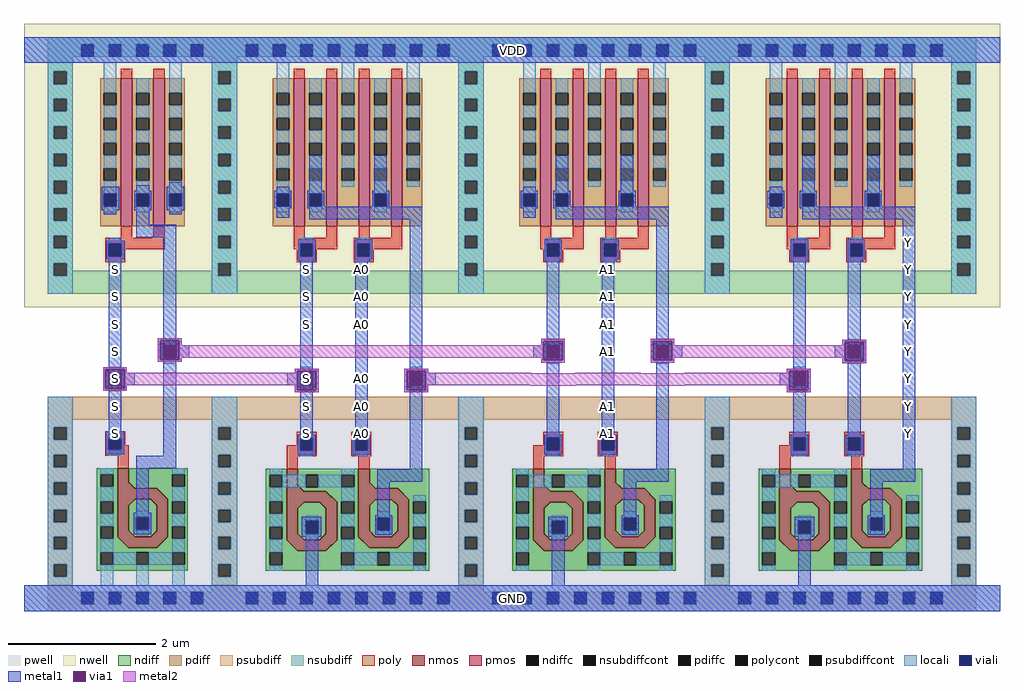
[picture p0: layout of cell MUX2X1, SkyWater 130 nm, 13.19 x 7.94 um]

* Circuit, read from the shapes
.subckt MUX2X1 Y A0 A1 S VDD GND
XM1 GND S n1 GND sky130_fd_pr__nfet_01v8 w=2.56 l=0.1472
XM2 n2 S GND GND sky130_fd_pr__nfet_01v8 w=2.6 l=0.1479
XM3 n2 A0 n3 GND sky130_fd_pr__nfet_01v8 w=2.56 l=0.1468
XM4 n4 n1 GND GND sky130_fd_pr__nfet_01v8 w=2.6 l=0.1483
XM5 n4 A1 n5 GND sky130_fd_pr__nfet_01v8 w=2.56 l=0.1467
XM6 n6 n3 GND GND sky130_fd_pr__nfet_01v8 w=2.6 l=0.1478
XM7 n6 n5 Y GND sky130_fd_pr__nfet_01v8 w=2.56 l=0.1467
XM8 n1 S VDD VDD sky130_fd_pr__pfet_01v8 w=2 l=0.15 m=2
XM9 n3 S VDD VDD sky130_fd_pr__pfet_01v8 w=2 l=0.15 m=2
XM10 n3 A0 VDD VDD sky130_fd_pr__pfet_01v8 w=2 l=0.15 m=2
XM11 n5 n1 VDD VDD sky130_fd_pr__pfet_01v8 w=2 l=0.15 m=2
XM12 n5 A1 VDD VDD sky130_fd_pr__pfet_01v8 w=2 l=0.15 m=2
XM13 Y n3 VDD VDD sky130_fd_pr__pfet_01v8 w=2 l=0.15 m=2
XM14 Y n5 VDD VDD sky130_fd_pr__pfet_01v8 w=2 l=0.15 m=2
.ends

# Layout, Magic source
magic
tech sky130A
magscale 1 2
<< nwell >>
rect 0 822 2638 1588
<< pwell >>
rect 155 19 189 53
rect 64 0 2574 9
<< psubdiff >>
rect 64 0 2574 9
<< nsubdiff >>
rect 64 1546 2574 1552
<< locali >>
rect 0 1482 2638 1552
rect 0 0 2638 70
<< metal1 >>
rect 0 1482 2638 1552
rect 2375 981 2409 1015
rect 229 907 263 941
rect 747 907 781 941
rect 895 907 929 941
rect 1561 907 1595 941
rect 2375 907 2409 941
rect 229 833 263 867
rect 747 833 781 867
rect 895 833 929 867
rect 1561 833 1595 867
rect 2375 833 2409 867
rect 229 759 263 793
rect 747 759 781 793
rect 895 759 929 793
rect 1561 759 1595 793
rect 2375 759 2409 793
rect 229 685 263 719
rect 1561 685 1595 719
rect 2375 685 2409 719
rect 229 611 263 645
rect 747 611 781 645
rect 895 611 929 645
rect 2375 611 2409 645
rect 229 537 263 571
rect 747 537 781 571
rect 895 537 929 571
rect 1561 537 1595 571
rect 2375 537 2409 571
rect 229 463 263 497
rect 747 463 781 497
rect 895 463 929 497
rect 1561 463 1595 497
rect 2375 463 2409 497
rect 0 0 2638 70
use mux2x1_pcell  mux2x1_pcell_0
transform 1 0 98 0 1 36
box -87 -34 2529 1550
<< labels >>
rlabel metal1 2375 685 2409 719 1 Y
port 1 nsew signal output
rlabel metal1 2375 759 2409 793 1 Y
port 1 nsew signal output
rlabel metal1 2375 833 2409 867 1 Y
port 1 nsew signal output
rlabel metal1 2375 907 2409 941 1 Y
port 1 nsew signal output
rlabel metal1 2375 981 2409 1015 1 Y
port 1 nsew signal output
rlabel metal1 2375 611 2409 645 1 Y
port 1 nsew signal output
rlabel metal1 2375 537 2409 571 1 Y
port 1 nsew signal output
rlabel metal1 2375 463 2409 497 1 Y
port 1 nsew signal output
rlabel metal1 895 759 929 793 1 A0
port 2 nsew signal input
rlabel metal1 895 833 929 867 1 A0
port 2 nsew signal input
rlabel metal1 895 907 929 941 1 A0
port 2 nsew signal input
rlabel metal1 895 611 929 645 1 A0
port 2 nsew signal input
rlabel metal1 895 537 929 571 1 A0
port 2 nsew signal input
rlabel metal1 895 463 929 497 1 A0
port 2 nsew signal input
rlabel metal1 1561 759 1595 793 1 A1
port 3 nsew signal input
rlabel metal1 1561 685 1595 719 1 A1
port 3 nsew signal input
rlabel metal1 1561 537 1595 571 1 A1
port 3 nsew signal input
rlabel metal1 1561 463 1595 497 1 A1
port 3 nsew signal input
rlabel metal1 1561 907 1595 941 1 A1
port 3 nsew signal input
rlabel metal1 1561 833 1595 867 1 A1
port 3 nsew signal input
rlabel metal1 229 611 263 645 1 S
port 4 nsew signal input
rlabel metal1 229 685 263 719 1 S
port 4 nsew signal input
rlabel metal1 229 759 263 793 1 S
port 4 nsew signal input
rlabel metal1 229 833 263 867 1 S
port 4 nsew signal input
rlabel metal1 229 907 263 941 1 S
port 4 nsew signal input
rlabel metal1 229 537 263 571 1 S
port 4 nsew signal input
rlabel metal1 229 463 263 497 1 S
port 4 nsew signal input
rlabel metal1 747 907 781 941 1 S
port 4 nsew signal input
rlabel metal1 747 833 781 867 1 S
port 4 nsew signal input
rlabel metal1 747 759 781 793 1 S
port 4 nsew signal input
rlabel metal1 747 611 781 645 1 S
port 4 nsew signal input
rlabel metal1 747 537 781 571 1 S
port 4 nsew signal input
rlabel metal1 747 463 781 497 1 S
port 4 nsew signal input
rlabel metal1 0 1482 2638 1552 1 VDD
port 5 nsew power bidirectional abutment
rlabel metal1 0 0 2638 70 1 GND
port 6 nsew ground bidirectional abutment
<< properties >>
string FIXED_BBOX 0 0 2638 1552
string LEFclass CORE
string LEFsite unitrh
string LEFsymmetry X Y
<< end >>

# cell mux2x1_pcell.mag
magic
tech sky130A
magscale 1 2
<< metal1 >>
rect 264 696 328 702
rect 264 644 270 696
rect 322 644 328 696
rect 264 638 328 644
rect 1300 694 1364 700
rect 1300 642 1306 694
rect 1358 642 1364 694
rect 1300 636 1364 642
rect 1596 694 1660 700
rect 1596 642 1602 694
rect 1654 642 1660 694
rect 1596 636 1660 642
rect 2114 692 2178 698
rect 2114 640 2120 692
rect 2172 640 2178 692
rect 2114 634 2178 640
rect 116 618 180 624
rect 116 566 122 618
rect 174 566 180 618
rect 116 560 180 566
rect 634 614 698 620
rect 634 562 640 614
rect 692 562 698 614
rect 634 556 698 562
rect 930 614 994 620
rect 930 562 936 614
rect 988 562 994 614
rect 930 556 994 562
rect 1964 614 2028 620
rect 1964 562 1970 614
rect 2022 562 2028 614
rect 1964 556 2028 562
<< via1 >>
rect 270 644 322 696
rect 1306 642 1358 694
rect 1602 642 1654 694
rect 2120 640 2172 692
rect 122 566 174 618
rect 640 562 692 614
rect 936 562 988 614
rect 1970 562 2022 614
<< metal2 >>
rect 264 696 328 702
rect 264 644 270 696
rect 322 683 328 696
rect 1300 694 1364 700
rect 1300 683 1306 694
rect 322 649 1306 683
rect 322 644 328 649
rect 264 638 328 644
rect 1300 642 1306 649
rect 1358 642 1364 694
rect 1300 636 1364 642
rect 1596 694 1660 700
rect 1596 642 1602 694
rect 1654 683 1660 694
rect 2114 692 2178 698
rect 2114 683 2120 692
rect 1654 649 2120 683
rect 1654 642 1660 649
rect 1596 636 1660 642
rect 2114 640 2120 649
rect 2172 640 2178 692
rect 2114 634 2178 640
rect 116 618 180 624
rect 116 566 122 618
rect 174 609 180 618
rect 634 614 698 620
rect 634 609 640 614
rect 174 575 640 609
rect 174 566 180 575
rect 116 560 180 566
rect 634 562 640 575
rect 692 562 698 614
rect 634 556 698 562
rect 930 614 994 620
rect 930 562 936 614
rect 988 609 994 614
rect 1964 614 2028 620
rect 1964 609 1970 614
rect 988 607 1272 609
rect 1392 607 1568 609
rect 1688 607 1970 609
rect 988 575 1970 607
rect 988 562 994 575
rect 1272 573 1392 575
rect 1568 573 1688 575
rect 930 556 994 562
rect 1964 562 1970 575
rect 2022 562 2028 614
rect 1964 556 2028 562
use invx1_pcell  invx1_pcell_0
transform 1 0 0 0 1 0
box -87 -34 531 1550
use li1_M1_contact  li1_M1_contact_0
transform 1 0 666 0 1 592
box -53 -33 29 33
use li1_M1_contact  li1_M1_contact_1
transform -1 0 296 0 -1 666
box -53 -33 29 33
use li1_M1_contact  li1_M1_contact_2
transform 1 0 1332 0 1 666
box -53 -33 29 33
use li1_M1_contact  li1_M1_contact_3
transform -1 0 962 0 -1 592
box -53 -33 29 33
use li1_M1_contact  li1_M1_contact_4
transform -1 0 1628 0 -1 666
box -53 -33 29 33
use li1_M1_contact  li1_M1_contact_5
transform 1 0 1998 0 1 592
box -53 -33 29 33
use li1_M1_contact  li1_M1_contact_6
transform -1 0 148 0 -1 592
box -53 -33 29 33
use li1_M1_contact  li1_M1_contact_7
transform 1 0 2146 0 1 666
box -53 -33 29 33
use nand2x1_pcell  nand2x1_pcell_0
transform 1 0 444 0 1 0
box -87 -34 753 1550
use nand2x1_pcell  nand2x1_pcell_1
transform 1 0 1110 0 1 0
box -87 -34 753 1550
use nand2x1_pcell  nand2x1_pcell_2
transform 1 0 1776 0 1 0
box -87 -34 753 1550
<< end >>

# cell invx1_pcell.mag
magic
tech sky130A
magscale 1 2
<< nwell >>
rect -87 786 531 1550
<< pwell >>
rect -34 -34 478 544
<< pdiffc >>
rect 118 1059 152 1093
rect 206 1059 240 1093
rect 294 1059 328 1093
<< psubdiff >>
rect 34 482 410 544
rect 34 -17 57 17
rect 91 -17 131 17
rect 165 -17 205 17
rect 239 -17 279 17
rect 313 -17 353 17
rect 387 -17 410 17
rect 34 -34 410 -17
<< nsubdiff >>
rect 34 1497 410 1514
rect 34 1463 57 1497
rect 91 1463 131 1497
rect 165 1463 205 1497
rect 239 1463 279 1497
rect 313 1463 353 1497
rect 387 1463 410 1497
rect 34 822 410 884
<< psubdiffcont >>
rect 57 -17 91 17
rect 131 -17 165 17
rect 205 -17 239 17
rect 279 -17 313 17
rect 353 -17 387 17
<< nsubdiffcont >>
rect 57 1463 91 1497
rect 131 1463 165 1497
rect 205 1463 239 1497
rect 279 1463 313 1497
rect 353 1463 387 1497
<< poly >>
rect 155 381 185 413
<< locali >>
rect -34 1497 478 1514
rect -34 1463 57 1497
rect 91 1463 131 1497
rect 165 1463 205 1497
rect 239 1463 279 1497
rect 313 1463 353 1497
rect 387 1463 478 1497
rect -34 1446 478 1463
rect 118 1093 152 1117
rect 118 1043 152 1059
rect 206 1093 240 1117
rect 206 1043 240 1059
rect 294 1093 328 1117
rect 294 1043 328 1059
rect 109 34 143 84
rect 205 34 239 90
rect 303 34 337 90
rect -34 17 466 34
rect -34 -17 57 17
rect 91 -17 131 17
rect 165 -17 205 17
rect 239 -17 279 17
rect 313 -17 353 17
rect 387 -17 466 17
rect -34 -34 466 -17
<< viali >>
rect 57 1463 91 1497
rect 131 1463 165 1497
rect 205 1463 239 1497
rect 279 1463 313 1497
rect 353 1463 387 1497
rect 118 1059 152 1093
rect 206 1059 240 1093
rect 294 1059 328 1093
rect 131 923 165 957
rect 131 400 165 434
rect 205 184 239 218
rect 57 -17 91 17
rect 131 -17 165 17
rect 205 -17 239 17
rect 279 -17 313 17
rect 353 -17 387 17
<< metal1 >>
rect -34 1497 478 1514
rect -34 1463 57 1497
rect 91 1463 131 1497
rect 165 1463 205 1497
rect 239 1463 279 1497
rect 313 1463 353 1497
rect 387 1463 478 1497
rect -34 1446 478 1463
rect 112 1093 159 1111
rect 206 1101 240 1115
rect 294 1111 328 1124
rect 112 1059 118 1093
rect 152 1059 159 1093
rect 112 1048 159 1059
rect 200 1093 246 1101
rect 200 1059 206 1093
rect 240 1059 246 1093
rect 200 1048 246 1059
rect 288 1093 335 1111
rect 288 1059 294 1093
rect 328 1059 335 1093
rect 288 1048 335 1059
rect 118 1037 152 1048
rect 206 1009 240 1048
rect 294 1037 328 1048
rect 206 975 313 1009
rect 131 966 165 973
rect 124 957 174 966
rect 124 923 131 957
rect 165 923 174 957
rect 124 916 174 923
rect 131 450 165 916
rect 123 434 173 450
rect 123 400 131 434
rect 165 400 173 434
rect 123 388 173 400
rect 279 385 313 975
rect 205 351 313 385
rect 205 230 239 351
rect 198 218 246 230
rect 198 184 205 218
rect 239 184 246 218
rect 198 172 246 184
rect -34 17 478 34
rect -34 -17 57 17
rect 91 -17 131 17
rect 165 -17 205 17
rect 239 -17 279 17
rect 313 -17 353 17
rect 387 -17 478 17
rect -34 -34 478 -17
use diff_ring_side  diff_ring_side_0
transform 1 0 444 0 1 0
box -87 -34 87 1550
use diff_ring_side  diff_ring_side_1
transform 1 0 0 0 1 0
box -87 -34 87 1550
use nmos_top  nmos_top_0
transform -1 0 345 0 1 74
box 0 0 246 308
use pmos2  pmos2_0
transform 1 0 20 0 1 1404
box 52 -461 352 42
use poly_li1_contact  poly_li1_contact_0
transform 0 1 149 -1 0 941
box -32 -28 34 26
use poly_li1_contact  poly_li1_contact_1
transform 0 -1 147 1 0 416
box -32 -28 34 26
<< end >>

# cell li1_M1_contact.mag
magic
tech sky130A
magscale 1 2
<< locali >>
rect -17 17 17 33
rect -17 -33 17 -17
<< viali >>
rect -17 -17 17 17
<< metal1 >>
rect -23 17 23 23
rect -53 -17 -17 17
rect 17 -17 29 17
rect -23 -23 23 -17
<< end >>

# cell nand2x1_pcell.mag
magic
tech sky130A
magscale 1 2
<< nwell >>
rect 87 786 579 1550
<< pwell >>
rect 34 542 632 544
rect -31 -30 697 542
rect 34 -34 632 -30
<< pdiff >>
rect 223 1093 269 1100
rect 223 1059 229 1093
rect 263 1059 269 1093
rect 223 1053 269 1059
rect 399 1093 445 1100
rect 399 1059 405 1093
rect 439 1059 445 1093
rect 399 1053 445 1059
<< pdiffc >>
rect 141 1059 175 1093
rect 229 1059 263 1093
rect 405 1059 439 1093
<< psubdiff >>
rect 34 542 632 544
rect 31 482 635 542
rect 31 480 34 482
rect 632 480 635 482
rect 31 -17 57 17
rect 91 -17 131 17
rect 165 -17 205 17
rect 239 -17 279 17
rect 313 -17 353 17
rect 387 -17 427 17
rect 461 -17 501 17
rect 535 -17 575 17
rect 609 -17 635 17
rect 31 -30 635 -17
rect 34 -34 632 -30
<< nsubdiff >>
rect 34 1497 632 1514
rect 34 1463 57 1497
rect 91 1463 131 1497
rect 165 1463 205 1497
rect 239 1463 279 1497
rect 313 1463 353 1497
rect 387 1463 427 1497
rect 461 1463 501 1497
rect 535 1463 575 1497
rect 609 1463 632 1497
rect 34 822 632 884
<< psubdiffcont >>
rect 57 -17 91 17
rect 131 -17 165 17
rect 205 -17 239 17
rect 279 -17 313 17
rect 353 -17 387 17
rect 427 -17 461 17
rect 501 -17 535 17
rect 575 -17 609 17
<< nsubdiffcont >>
rect 57 1463 91 1497
rect 131 1463 165 1497
rect 205 1463 239 1497
rect 279 1463 313 1497
rect 353 1463 387 1497
rect 427 1463 461 1497
rect 501 1463 535 1497
rect 575 1463 609 1497
<< poly >>
rect 168 375 198 413
rect 362 382 392 383
<< locali >>
rect -34 1497 634 1514
rect -34 1463 57 1497
rect 91 1463 131 1497
rect 165 1463 205 1497
rect 239 1463 279 1497
rect 313 1463 353 1497
rect 387 1463 427 1497
rect 461 1463 501 1497
rect 535 1463 575 1497
rect 609 1463 634 1497
rect -34 1446 634 1463
rect 141 1093 175 1122
rect 141 1043 175 1059
rect 229 1093 263 1122
rect 229 1043 263 1059
rect 405 1093 439 1122
rect 405 1043 439 1059
rect 33 17 659 34
rect 33 -17 57 17
rect 91 -17 131 17
rect 165 -17 205 17
rect 239 -17 279 17
rect 313 -17 353 17
rect 387 -17 427 17
rect 461 -17 501 17
rect 535 -17 575 17
rect 609 -17 659 17
rect 33 -34 659 -17
<< viali >>
rect 57 1463 91 1497
rect 131 1463 165 1497
rect 205 1463 239 1497
rect 279 1463 313 1497
rect 353 1463 387 1497
rect 427 1463 461 1497
rect 501 1463 535 1497
rect 575 1463 609 1497
rect 141 1059 175 1093
rect 229 1059 263 1093
rect 405 1059 439 1093
rect 205 923 239 957
rect 359 923 393 957
rect 205 399 239 433
rect 353 399 387 433
rect 219 174 253 208
rect 413 183 447 217
rect 57 -17 91 17
rect 131 -17 165 17
rect 205 -17 239 17
rect 279 -17 313 17
rect 353 -17 387 17
rect 427 -17 461 17
rect 501 -17 535 17
rect 575 -17 609 17
<< metal1 >>
rect -34 1497 700 1514
rect -34 1463 57 1497
rect 91 1463 131 1497
rect 165 1463 205 1497
rect 239 1463 279 1497
rect 313 1463 353 1497
rect 387 1463 427 1497
rect 461 1463 501 1497
rect 535 1463 575 1497
rect 609 1463 700 1497
rect -34 1446 700 1463
rect 141 1100 175 1111
rect 229 1100 263 1196
rect 405 1100 439 1196
rect 135 1093 181 1100
rect 135 1059 141 1093
rect 175 1059 181 1093
rect 135 1053 181 1059
rect 223 1093 269 1100
rect 223 1059 229 1093
rect 263 1059 269 1093
rect 223 1057 269 1059
rect 399 1093 445 1100
rect 399 1059 405 1093
rect 439 1059 445 1093
rect 399 1057 445 1059
rect 223 1053 535 1057
rect 141 1027 175 1053
rect 229 1023 535 1053
rect 199 957 246 969
rect 199 923 205 957
rect 239 923 246 957
rect 199 912 246 923
rect 353 957 399 969
rect 353 923 359 957
rect 393 923 399 957
rect 353 916 399 923
rect 205 441 239 912
rect 353 911 394 916
rect 353 441 387 911
rect 198 433 246 441
rect 198 399 205 433
rect 239 399 246 433
rect 198 387 246 399
rect 347 433 394 441
rect 347 399 353 433
rect 387 399 394 433
rect 347 387 394 399
rect 501 348 535 1023
rect 413 314 535 348
rect 413 224 447 314
rect 209 208 262 220
rect 209 174 219 208
rect 253 174 262 208
rect 209 165 262 174
rect 407 217 453 224
rect 407 183 413 217
rect 447 183 453 217
rect 407 171 453 183
rect 219 34 253 165
rect -34 17 700 34
rect -34 -17 57 17
rect 91 -17 131 17
rect 165 -17 205 17
rect 239 -17 279 17
rect 313 -17 353 17
rect 387 -17 427 17
rect 461 -17 501 17
rect 535 -17 575 17
rect 609 -17 700 17
rect -34 -34 700 -17
use diff_ring_side  diff_ring_side_0
transform 1 0 666 0 1 0
box -87 -34 87 1550
use diff_ring_side  diff_ring_side_1
transform 1 0 0 0 1 0
box -87 -34 87 1550
use nmos_bottom  nmos_bottom_0
transform -1 0 360 0 1 73
box 0 0 248 302
use nmos_top_trim1  nmos_top_trim1_0
transform -1 0 554 0 1 73
box 0 0 248 309
use pmos2  pmos2_0
transform 1 0 43 0 1 1404
box 52 -461 352 42
use pmos2  pmos2_1
transform 1 0 219 0 1 1404
box 52 -461 352 42
use poly_li1_contact  poly_li1_contact_0
transform 0 1 223 -1 0 941
box -32 -28 34 26
use poly_li1_contact  poly_li1_contact_1
transform 0 1 223 -1 0 417
box -32 -28 34 26
use poly_li1_contact  poly_li1_contact_2
transform 0 -1 369 1 0 415
box -32 -28 34 26
use poly_li1_contact  poly_li1_contact_3
transform 0 1 377 -1 0 941
box -32 -28 34 26
<< end >>

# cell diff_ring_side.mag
magic
tech sky130A
magscale 1 2
<< nwell >>
rect -87 786 87 1550
<< pwell >>
rect -34 -34 34 544
<< psubdiff >>
rect -34 461 34 544
rect -34 427 -17 461
rect 17 427 34 461
rect -34 387 34 427
rect -34 353 -17 387
rect 17 353 34 387
rect -34 313 34 353
rect -34 279 -17 313
rect 17 279 34 313
rect -34 239 34 279
rect -34 205 -17 239
rect 17 205 34 239
rect -34 165 34 205
rect -34 131 -17 165
rect 17 131 34 165
rect -34 91 34 131
rect -34 57 -17 91
rect 17 57 34 91
rect -34 -34 34 57
<< nsubdiff >>
rect -34 1423 34 1514
rect -34 1389 -17 1423
rect 17 1389 34 1423
rect -34 1349 34 1389
rect -34 1315 -17 1349
rect 17 1315 34 1349
rect -34 1275 34 1315
rect -34 1241 -17 1275
rect 17 1241 34 1275
rect -34 1201 34 1241
rect -34 1167 -17 1201
rect 17 1167 34 1201
rect -34 1127 34 1167
rect -34 1093 -17 1127
rect 17 1093 34 1127
rect -34 1053 34 1093
rect -34 1019 -17 1053
rect 17 1019 34 1053
rect -34 979 34 1019
rect -34 945 -17 979
rect 17 945 34 979
rect -34 905 34 945
rect -34 871 -17 905
rect 17 871 34 905
rect -34 822 34 871
<< psubdiffcont >>
rect -17 427 17 461
rect -17 353 17 387
rect -17 279 17 313
rect -17 205 17 239
rect -17 131 17 165
rect -17 57 17 91
<< nsubdiffcont >>
rect -17 1389 17 1423
rect -17 1315 17 1349
rect -17 1241 17 1275
rect -17 1167 17 1201
rect -17 1093 17 1127
rect -17 1019 17 1053
rect -17 945 17 979
rect -17 871 17 905
<< locali >>
rect -34 1423 34 1514
rect -34 1389 -17 1423
rect 17 1389 34 1423
rect -34 1349 34 1389
rect -34 1315 -17 1349
rect 17 1315 34 1349
rect -34 1275 34 1315
rect -34 1241 -17 1275
rect 17 1241 34 1275
rect -34 1201 34 1241
rect -34 1167 -17 1201
rect 17 1167 34 1201
rect -34 1127 34 1167
rect -34 1093 -17 1127
rect 17 1093 34 1127
rect -34 1053 34 1093
rect -34 1019 -17 1053
rect 17 1019 34 1053
rect -34 979 34 1019
rect -34 945 -17 979
rect 17 945 34 979
rect -34 905 34 945
rect -34 871 -17 905
rect 17 871 34 905
rect -34 822 34 871
rect -34 461 34 544
rect -34 427 -17 461
rect 17 427 34 461
rect -34 387 34 427
rect -34 353 -17 387
rect 17 353 34 387
rect -34 313 34 353
rect -34 279 -17 313
rect 17 279 34 313
rect -34 239 34 279
rect -34 205 -17 239
rect 17 205 34 239
rect -34 165 34 205
rect -34 131 -17 165
rect 17 131 34 165
rect -34 91 34 131
rect -34 57 -17 91
rect 17 57 34 91
rect -34 -34 34 57
<< metal1 >>
rect -34 1446 34 1514
rect -34 -34 34 34
<< end >>

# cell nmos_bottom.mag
magic
tech sky130A
magscale 1 2
<< nmos >>
tri 146 215 162 231 se
rect 162 215 192 276
tri 56 185 86 215 se
rect 86 185 192 215
rect 56 84 86 185
tri 86 169 102 185 nw
tri 146 169 162 185 ne
tri 86 84 102 100 sw
tri 146 84 162 100 se
rect 162 84 192 185
tri 56 54 86 84 ne
rect 86 54 162 84
tri 162 54 192 84 nw
<< ndiff >>
rect 0 260 162 276
rect 0 226 10 260
rect 44 226 107 260
rect 141 231 162 260
rect 141 226 146 231
rect 0 215 146 226
tri 146 215 162 231 nw
rect 192 260 248 276
rect 192 226 204 260
rect 238 226 248 260
rect 0 188 56 215
rect 0 154 10 188
rect 44 154 56 188
tri 56 185 86 215 nw
rect 192 188 248 226
rect 0 120 56 154
rect 0 86 10 120
rect 44 86 56 120
rect 0 54 56 86
tri 86 169 102 185 se
rect 102 169 146 185
tri 146 169 162 185 sw
rect 86 135 162 169
rect 86 101 107 135
rect 141 101 162 135
rect 86 100 162 101
tri 86 84 102 100 ne
rect 102 84 146 100
tri 146 84 162 100 nw
rect 192 154 204 188
rect 238 154 248 188
rect 192 120 248 154
rect 192 86 204 120
rect 238 86 248 120
tri 56 54 86 84 sw
tri 162 54 192 84 se
rect 192 54 248 86
rect 0 50 248 54
rect 0 16 10 50
rect 44 16 204 50
rect 238 16 248 50
rect 0 0 248 16
<< ndiffc >>
rect 10 226 44 260
rect 107 226 141 260
rect 204 226 238 260
rect 10 154 44 188
rect 10 86 44 120
rect 107 101 141 135
rect 204 154 238 188
rect 204 86 238 120
rect 10 16 44 50
rect 204 16 238 50
<< poly >>
rect 162 276 192 302
<< locali >>
rect 10 260 44 276
rect 204 260 238 276
rect 44 226 107 260
rect 141 226 204 260
rect 10 188 44 226
rect 10 120 44 154
rect 204 188 238 226
rect 10 50 44 86
rect 107 135 141 151
rect 107 85 141 101
rect 204 120 238 154
rect 10 0 44 16
rect 204 50 238 86
rect 204 0 238 16
<< end >>

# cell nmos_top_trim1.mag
magic
tech sky130
magscale 1 2
<< nmos >>
tri 146 223 162 239 se
rect 162 223 192 276
tri 56 193 86 223 se
rect 86 193 192 223
rect 56 92 86 193
tri 86 177 102 193 nw
tri 146 177 162 193 ne
tri 86 92 102 108 sw
tri 146 92 162 108 se
rect 162 92 192 193
tri 56 62 86 92 ne
rect 86 62 162 92
tri 162 62 192 92 nw
<< ndiff >>
rect 0 239 162 276
rect 0 223 146 239
tri 146 223 162 239 nw
rect 192 260 248 276
rect 192 226 204 260
rect 238 226 248 260
rect 0 188 56 223
tri 56 193 86 223 nw
rect 0 154 10 188
rect 44 154 56 188
rect 0 120 56 154
rect 0 86 10 120
rect 44 86 56 120
tri 86 177 102 193 se
rect 102 177 146 193
tri 146 177 162 193 sw
rect 86 144 162 177
rect 86 110 107 144
rect 141 110 162 144
rect 86 108 162 110
tri 86 92 102 108 ne
rect 102 92 146 108
tri 146 92 162 108 nw
rect 192 188 248 226
rect 192 154 204 188
rect 238 154 248 188
rect 192 120 248 154
rect 0 62 56 86
tri 56 62 86 92 sw
tri 162 62 192 92 se
rect 192 86 204 120
rect 238 86 248 120
rect 192 62 248 86
rect 0 50 248 62
rect 0 16 10 50
rect 44 16 107 50
rect 141 16 204 50
rect 238 16 248 50
rect 0 0 248 16
<< ndiffc >>
rect 204 226 238 260
rect 10 154 44 188
rect 10 86 44 120
rect 107 110 141 144
rect 204 154 238 188
rect 204 86 238 120
rect 10 16 44 50
rect 107 16 141 50
rect 204 16 238 50
<< poly >>
rect 162 276 192 309
<< locali >>
rect 204 260 238 276
rect 10 188 44 204
rect 204 188 238 226
rect 10 120 44 154
rect 107 144 141 161
rect 107 94 141 110
rect 204 120 238 154
rect 10 50 44 86
rect 204 50 238 86
rect 44 16 107 50
rect 141 16 204 50
rect 10 0 44 16
rect 204 0 238 16
<< end >>

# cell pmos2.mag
magic
tech sky130A
magscale 1 2
<< nwell >>
rect 52 -436 352 36
<< pmos >>
rect 144 -400 174 0
rect 232 -400 262 0
<< pdiff >>
rect 88 -38 144 0
rect 88 -72 98 -38
rect 132 -72 144 -38
rect 88 -106 144 -72
rect 88 -140 98 -106
rect 132 -140 144 -106
rect 88 -174 144 -140
rect 88 -208 98 -174
rect 132 -208 144 -174
rect 88 -242 144 -208
rect 88 -276 98 -242
rect 132 -276 144 -242
rect 88 -400 144 -276
rect 174 -38 232 0
rect 174 -72 186 -38
rect 220 -72 232 -38
rect 174 -106 232 -72
rect 174 -140 186 -106
rect 220 -140 232 -106
rect 174 -174 232 -140
rect 174 -208 186 -174
rect 220 -208 232 -174
rect 174 -242 232 -208
rect 174 -276 186 -242
rect 220 -276 232 -242
rect 174 -400 232 -276
rect 262 -38 316 0
rect 262 -72 274 -38
rect 308 -72 316 -38
rect 262 -106 316 -72
rect 262 -140 274 -106
rect 308 -140 316 -106
rect 262 -174 316 -140
rect 262 -208 274 -174
rect 308 -208 316 -174
rect 262 -242 316 -208
rect 262 -276 274 -242
rect 308 -276 316 -242
rect 262 -400 316 -276
<< pdiffc >>
rect 98 -72 132 -38
rect 98 -140 132 -106
rect 98 -208 132 -174
rect 98 -276 132 -242
rect 186 -72 220 -38
rect 186 -140 220 -106
rect 186 -208 220 -174
rect 186 -276 220 -242
rect 274 -72 308 -38
rect 274 -140 308 -106
rect 274 -208 308 -174
rect 274 -276 308 -242
<< poly >>
rect 144 0 174 26
rect 232 0 262 26
rect 144 -431 174 -400
rect 232 -431 262 -400
rect 144 -461 262 -431
<< locali >>
rect 98 -38 132 42
rect 98 -106 132 -72
rect 98 -174 132 -140
rect 98 -242 132 -208
rect 98 -293 132 -276
rect 186 -38 220 0
rect 186 -106 220 -72
rect 186 -174 220 -140
rect 186 -242 220 -208
rect 186 -293 220 -276
rect 274 -38 308 42
rect 274 -106 308 -72
rect 274 -174 308 -140
rect 274 -242 308 -208
rect 274 -293 308 -276
<< end >>

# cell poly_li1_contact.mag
magic
tech sky130
<< poly >>
rect -16 8 17 13
rect -16 -9 -8 8
rect 9 -9 17 8
rect -16 -14 17 -9
<< polycont >>
rect -8 -9 9 8
<< locali >>
rect -16 -9 -8 8
rect 9 -9 17 8
<< end >>

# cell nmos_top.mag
magic
tech sky130
magscale 1 2
<< nmos >>
tri 144 223 160 239 se
rect 160 223 190 276
tri 54 193 84 223 se
rect 84 193 190 223
rect 54 92 84 193
tri 84 177 100 193 nw
tri 144 177 160 193 ne
tri 84 92 100 108 sw
tri 144 92 160 108 se
rect 160 92 190 193
tri 54 62 84 92 ne
rect 84 62 160 92
tri 160 62 190 92 nw
<< ndiff >>
rect 0 260 160 276
rect 0 226 8 260
rect 42 239 160 260
rect 42 226 144 239
rect 0 223 144 226
tri 144 223 160 239 nw
rect 190 260 246 276
rect 190 226 202 260
rect 236 226 246 260
rect 0 188 54 223
tri 54 193 84 223 nw
rect 0 154 8 188
rect 42 154 54 188
rect 0 120 54 154
rect 0 86 8 120
rect 42 86 54 120
tri 84 177 100 193 se
rect 100 177 144 193
tri 144 177 160 193 sw
rect 84 144 160 177
rect 84 110 106 144
rect 140 110 160 144
rect 84 108 160 110
tri 84 92 100 108 ne
rect 100 92 144 108
tri 144 92 160 108 nw
rect 190 188 246 226
rect 190 154 202 188
rect 236 154 246 188
rect 190 120 246 154
rect 0 62 54 86
tri 54 62 84 92 sw
tri 160 62 190 92 se
rect 190 86 202 120
rect 236 86 246 120
rect 190 62 246 86
rect 0 50 246 62
rect 0 16 8 50
rect 42 16 106 50
rect 140 16 202 50
rect 236 16 246 50
rect 0 0 246 16
<< ndiffc >>
rect 8 226 42 260
rect 202 226 236 260
rect 8 154 42 188
rect 8 86 42 120
rect 106 110 140 144
rect 202 154 236 188
rect 202 86 236 120
rect 8 16 42 50
rect 106 16 140 50
rect 202 16 236 50
<< poly >>
rect 160 276 190 308
<< locali >>
rect 8 260 42 276
rect 8 188 42 226
rect 202 260 236 276
rect 202 188 236 226
rect 8 120 42 154
rect 106 144 140 161
rect 106 94 140 110
rect 202 120 236 154
rect 8 50 42 86
rect 202 50 236 86
rect 42 16 106 50
rect 140 16 202 50
rect 8 0 42 16
rect 202 0 236 16
<< end >>
